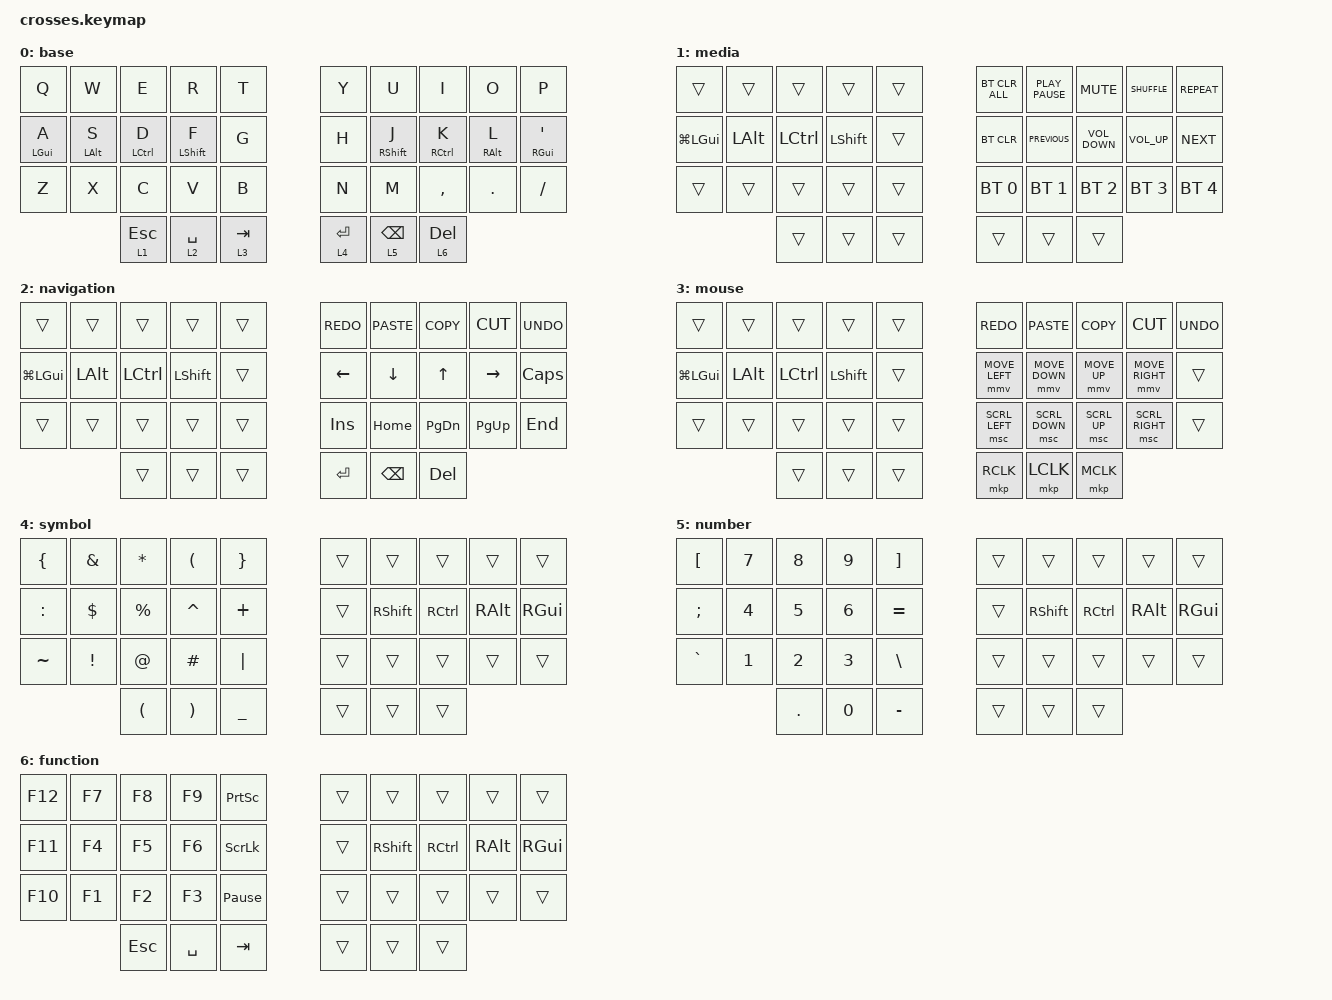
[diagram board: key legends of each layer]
#include <behaviors.dtsi>
#include <dt-bindings/zmk/bt.h>
#include <dt-bindings/zmk/keys.h>
#include <dt-bindings/zmk/pointing.h>


/ {
    chosen { zmk,physical-layout = &gggw_crosses_36_layout; };

    keymap {
        compatible = "zmk,keymap";

        base {
            bindings = <
&kp Q  &kp W  &kp E    &kp R      &kp T    &kp Y    &kp U     &kp I      &kp O    &kp P
&mt LGUI A  &mt LALT S  &mt LCTRL D    &mt LSHFT F      &kp G    &kp H    &mt RSHFT J     &mt RCTRL K      &mt RALT L    &mt RGUI SQT
&kp Z  &kp X  &kp C    &kp V      &kp B    &kp N    &kp M     &kp COMMA  &kp DOT  &kp FSLH
              &lt 1 ESC  &lt 2 SPACE  &lt 3 TAB  &lt 4 RET  &lt 5 BSPC  &lt 6 DEL
            >;
        };

        media {
            bindings = <
&trans        &trans    &trans     &trans     &trans  &bt BT_CLR_ALL  &kp K_PLAY_PAUSE  &kp C_MUTE  &kp C_SHUFFLE  &kp C_REPEAT
&kp LG(LGUI)  &kp LALT  &kp LCTRL  &kp LSHFT  &trans  &bt BT_CLR  &kp K_PREVIOUS   &kp C_VOLUME_DOWN  &kp C_VOLUME_UP  &kp K_NEXT 
&trans        &trans    &trans     &trans     &trans  &bt BT_SEL 0  &bt BT_SEL 1  &bt BT_SEL 2  &bt BT_SEL 3  &bt BT_SEL 4
                        &trans     &trans     &trans  &trans  &trans  &trans
            >;
        };

        navigation {
            bindings = <
&trans        &trans    &trans     &trans     &trans  &kp K_REDO    &kp K_PASTE    &kp K_COPY    &kp K_CUT  &kp K_UNDO
&kp LG(LGUI)  &kp LALT  &kp LCTRL  &kp LSHFT  &trans  &kp LEFT  &kp DOWN  &kp UP  &kp RIGHT  &kp CAPS
&trans        &trans    &trans     &trans     &trans  &kp INSERT    &kp HOME    &kp PG_DN    &kp PG_UP  &kp END
                        &trans     &trans     &trans  &kp RET   &kp BSPC  &kp DEL
            >;
        };

        mouse {
            bindings = <
&trans        &trans    &trans     &trans     &trans  &kp K_REDO   &kp K_PASTE    &kp K_COPY   &kp K_CUT  &kp K_UNDO
&kp LG(LGUI)  &kp LALT  &kp LCTRL  &kp LSHFT  &trans  &mmv MOVE_LEFT    &mmv MOVE_DOWN   &mmv MOVE_UP  &mmv MOVE_RIGHT &trans   
&trans        &trans    &trans     &trans     &trans  &msc SCRL_LEFT    &msc SCRL_DOWN   &msc SCRL_UP &msc SCRL_RIGHT &trans   
                        &trans     &trans     &trans  &mkp RCLK  &mkp LCLK  &mkp MCLK
            >;
        };

        symbol {
            bindings = <
&kp LBRC   &kp AMPS  &kp STAR   &kp LPAR   &kp RBRC   &trans  &trans     &trans     &trans    &trans
&kp COLON  &kp DLLR  &kp PRCNT  &kp CARET  &kp PLUS   &trans  &kp RSHFT  &kp RCTRL  &kp RALT  &kp RGUI
&kp TILDE  &kp EXCL  &kp AT     &kp POUND  &kp PIPE   &trans  &trans     &trans     &trans    &trans
                             &kp LPAR   &kp RPAR   &kp UNDER  &trans  &trans     &trans
            >;
        };

        number {
            bindings = <
&kp LBKT   &kp N7  &kp N8   &kp N9  &kp RBKT   &trans  &trans     &trans     &trans    &trans
&kp SEMI   &kp N4  &kp N5   &kp N6  &kp EQUAL  &trans  &kp RSHFT  &kp RCTRL  &kp RALT  &kp RGUI
&kp GRAVE  &kp N1  &kp N2   &kp N3  &kp BSLH   &trans  &trans     &trans     &trans    &trans
                   &kp DOT  &kp N0  &kp MINUS  &trans  &trans     &trans
            >;
        };

        function {
            bindings = <
&kp F12  &kp F7  &kp F8   &kp F9     &kp PRINTSCREEN   &trans  &trans     &trans     &trans    &trans
&kp F11  &kp F4  &kp F5   &kp F6     &kp SLCK   &trans  &kp RSHFT  &kp RCTRL  &kp RALT  &kp RGUI
&kp F10  &kp F1  &kp F2   &kp F3     &kp PAUSE_BREAK   &trans  &trans     &trans     &trans    &trans
                 &kp ESC  &kp SPACE  &kp TAB  &trans  &trans     &trans
            >;
        };
    };
};

&mt {
    tapping-term-ms = <230>;
    flavor = "tap-preferred";
    quick-tap-ms = <175>;
};
